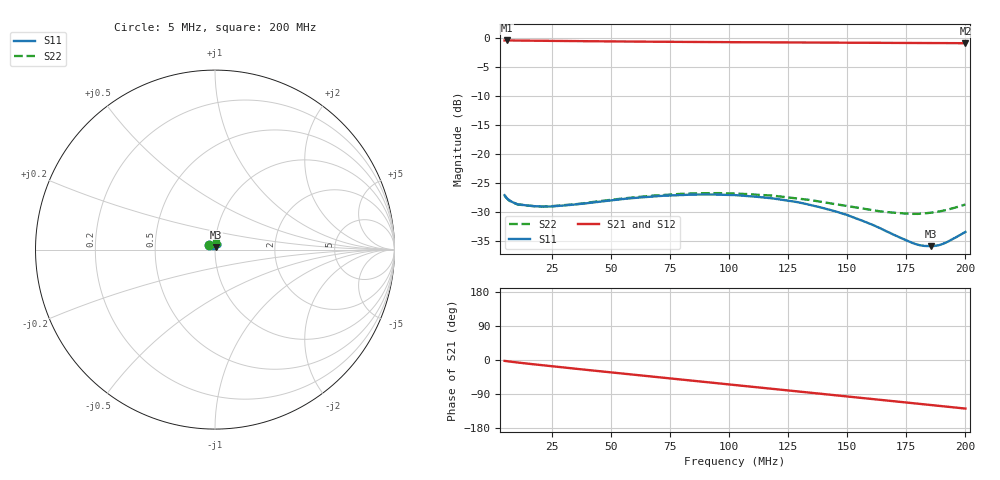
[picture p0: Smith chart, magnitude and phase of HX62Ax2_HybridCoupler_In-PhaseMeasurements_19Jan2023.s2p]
# Hz S DB R 50
! CMT, M5045, 22160017, 22.4.3/2
! Date: 1/19/2023 23:06:23
! Data: Format (Calibration Info)
! Freq	S11:dB/Ang(F2)	S21:dB/Ang(F2)	S12:dB/Ang(F2)	S22:dB/Ang(F2)
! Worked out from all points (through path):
!   1001 points, 5 MHz to 200 MHz, reference 50 ohm
!   highest |S21| = -0.42 dB at 6.17 MHz (marker M1); lowest = -0.9 dB at 200 MHz (marker M2)
!   group delay of S21, straight-line fit = 1.77 ns
!   lowest |S11| = -35.8 dB at 185.4 MHz (marker M3), VSWR 1.03, Z = 50.5 + j1.53 ohm
!   |S11| at or under -10 dB: start of sweep to end of sweep
!   |S22| runs from -30.3 to -26.7 dB; largest |S21 - S12| = 0.00045
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5000000  -27.04 140.5  -0.43 -2.3  -0.43 -2.3  -27.09 140.6
6170000  -27.64 141.4  -0.42 -3.3  -0.43 -3.3  -27.69 141.8
7925000  -28.14 142.3  -0.43 -4.7  -0.43 -4.7  -28.18 142.8
1.046e7  -28.60 141.9  -0.44 -6.6  -0.44 -6.6  -28.62 142.4
1.7675e7  -28.93 131.3  -0.47 -11.6  -0.47 -11.6  -28.94 131.5
2.5475e7  -28.96 121.8  -0.50 -16.8  -0.50 -16.8  -28.91 122.4
3.7565e7  -28.52 107.3  -0.54 -24.7  -0.54 -24.7  -28.47 108.8
5.3555e7  -27.77 90.6  -0.60 -35.0  -0.60 -35.0  -27.67 92.7
7.013e7  -27.19 75.4  -0.64 -45.5  -0.65 -45.5  -27.05 78.7
8.69e7  -26.92 62.5  -0.69 -56.2  -0.69 -56.2  -26.70 66.8
1.025e8  -27.02 52.2  -0.72 -66.1  -0.72 -66.1  -26.76 57.8
1.1849e8  -27.60 42.9  -0.75 -76.2  -0.75 -76.2  -27.12 50.4
1.28045e8  -28.16 38.5  -0.77 -82.3  -0.77 -82.3  -27.55 47.5
1.35065e8  -28.78 35.6  -0.78 -86.7  -0.78 -86.7  -27.92 45.7
1.493e8  -30.36 32.7  -0.81 -95.8  -0.81 -95.8  -28.85 45.7
1.59635e8  -31.95 33.9  -0.83 -102.4  -0.83 -102.4  -29.56 48.7
1.6763e8  -33.44 38.5  -0.84 -107.5  -0.84 -107.5  -29.97 52.8
1.7894e8  -35.45 54.6  -0.86 -114.7  -0.86 -114.7  -30.25 61.5
1.81865e8  -35.70 60.9  -0.86 -116.6  -0.86 -116.6  -30.19 64.2
1.85375e8  -35.81 69.4  -0.87 -118.8  -0.87 -118.8  -30.04 67.5
1.9064e8  -35.39 82.3  -0.88 -122.2  -0.88 -122.2  -29.70 72.4
2e8  -33.36 99.4  -0.89 -128.2  -0.90 -128.2  -28.64 79.2
